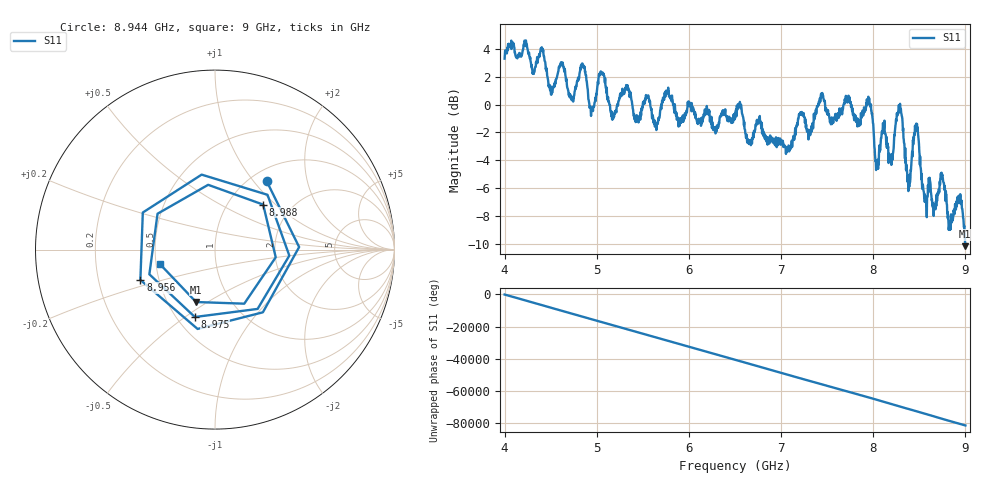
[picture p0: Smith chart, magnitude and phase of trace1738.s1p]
! Created with skrf 1.8.0 (http://scikit-rf.org).
# Hz S RI R 50.0
!freq ReS11 ImS11
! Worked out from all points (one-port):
!   1601 points, 4 GHz to 9 GHz, reference 50 ohm
!   lowest |S11| = -10.2 dB at 8.997 GHz (marker M1), VSWR 1.90, Z = 34.6 - j22.3 ohm
!   |S11| at or under -10 dB: 8.99644 GHz to 8.99994 GHz (3.5 MHz wide, 0.0389 % of centre)
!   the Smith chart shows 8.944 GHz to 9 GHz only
!   S11 on the Smith chart (normalised r, x): 8.944 GHz: 1.19, +1.17; 8.956 GHz: 0.39, -0.17; 8.975 GHz: 0.61, -0.55; 8.988 GHz: 1.45, +0.84; 9 GHz: 0.53, -0.10
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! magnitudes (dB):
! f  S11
! 4 GHz  3.3
! 4.406 GHz  4.1
! 4.506 GHz  0.7
! 4.625 GHz  2.8
! 4.725 GHz  0.6
! 4.844 GHz  2.9
! 4.944 GHz  -0.4
! 5.047 GHz  2.2
! 5.172 GHz  -1.1
! 5.25 GHz  0.6
! 5.875 GHz  -0.9
! 6.5 GHz  -1.0
! 7.125 GHz  -2.6
! 7.75 GHz  0.2
! 7.956 GHz  0.4
! 8.044 GHz  -4.0
! 8.109 GHz  -1.6
! 8.197 GHz  -4.3
! 8.291 GHz  0.1
! 8.375 GHz  -5.1
! 8.469 GHz  -1.7
! 8.566 GHz  -6.6
! 8.944 GHz  -6.4
! 8.956 GHz  -7.0
! 8.975 GHz  -8.1
! 8.988 GHz  -8.7
! 8.997 GHz  -10.2
! 9 GHz  -10.0
